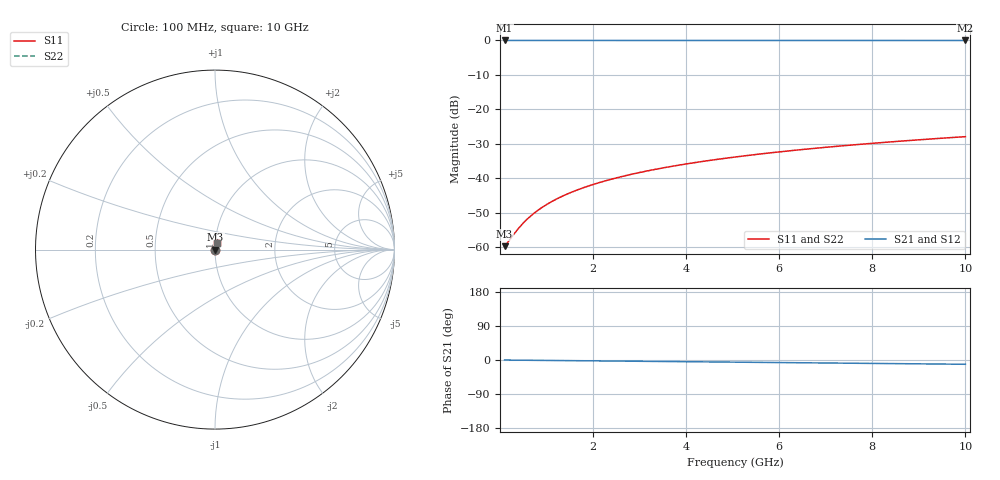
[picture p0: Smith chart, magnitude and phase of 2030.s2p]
# Hz S RI R 50.00
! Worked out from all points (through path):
!   100 points, 100 MHz to 10 GHz, reference 50 ohm
!   highest |S21| = -0.01 dB at 100 MHz (marker M1); lowest = 0.0 dB at 10 GHz (marker M2)
!   group delay of S21, straight-line fit = 3.13 ps
!   lowest |S11| = -59.7 dB at 100 MHz (marker M3), VSWR 1.00, Z = 50.1 + j0.0401 ohm
!   |S11| at or under -10 dB: start of sweep to end of sweep
!   |S22| runs from -59.7 to -27.9 dB; largest |S21 - S12| = 0
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1e8  0.000949 0.0004  0.999 -0.00195  0.999 -0.00195  0.000949 0.0004
2e8  0.000957 0.0008  0.999 -0.00391  0.999 -0.00391  0.000957 0.0008
3e8  0.000965 0.0012  0.999 -0.00586  0.999 -0.00586  0.000965 0.0012
4e8  0.000974 0.0016  0.999 -0.00782  0.999 -0.00782  0.000974 0.0016
5e8  0.000983 0.002  0.999 -0.00977  0.999 -0.00977  0.000983 0.002
6e8  0.000994 0.0024  0.999 -0.0117  0.999 -0.0117  0.000994 0.0024
7e8  0.00101 0.0028  0.9989 -0.0137  0.9989 -0.0137  0.00101 0.0028
8e8  0.00102 0.0032  0.9989 -0.0156  0.9989 -0.0156  0.00102 0.0032
1e9  0.00105 0.004  0.9988 -0.0196  0.9988 -0.0196  0.00105 0.004
1.2e9  0.00109 0.0048  0.9987 -0.0235  0.9987 -0.0235  0.00109 0.0048
1.5e9  0.00115 0.006  0.9986 -0.0293  0.9986 -0.0293  0.00115 0.006
1.8e9  0.00123 0.00719  0.9983 -0.0352  0.9983 -0.0352  0.00123 0.00719
2.1e9  0.00133 0.00839  0.9981 -0.0411  0.9981 -0.0411  0.00133 0.00839
2.5e9  0.00148 0.00998  0.9977 -0.0489  0.9977 -0.0489  0.00148 0.00998
2.9e9  0.00165 0.0116  0.9973 -0.0567  0.9973 -0.0567  0.00165 0.0116
3.4e9  0.0019 0.0136  0.9967 -0.0665  0.9967 -0.0665  0.0019 0.0136
4.2e9  0.00237 0.0167  0.9954 -0.0821  0.9954 -0.0821  0.00237 0.0167
5.1e9  0.00303 0.0203  0.9937 -0.0997  0.9937 -0.0997  0.00303 0.0203
5.9e9  0.00372 0.0234  0.992 -0.1153  0.992 -0.1153  0.00372 0.0234
6.7e9  0.00451 0.0265  0.9899 -0.1309  0.9899 -0.1309  0.00451 0.0265
8.4e9  0.00652 0.033  0.9847 -0.1641  0.9847 -0.1641  0.00652 0.033
1e10  0.00882 0.0391  0.9788 -0.1951  0.9788 -0.1951  0.00882 0.0391
